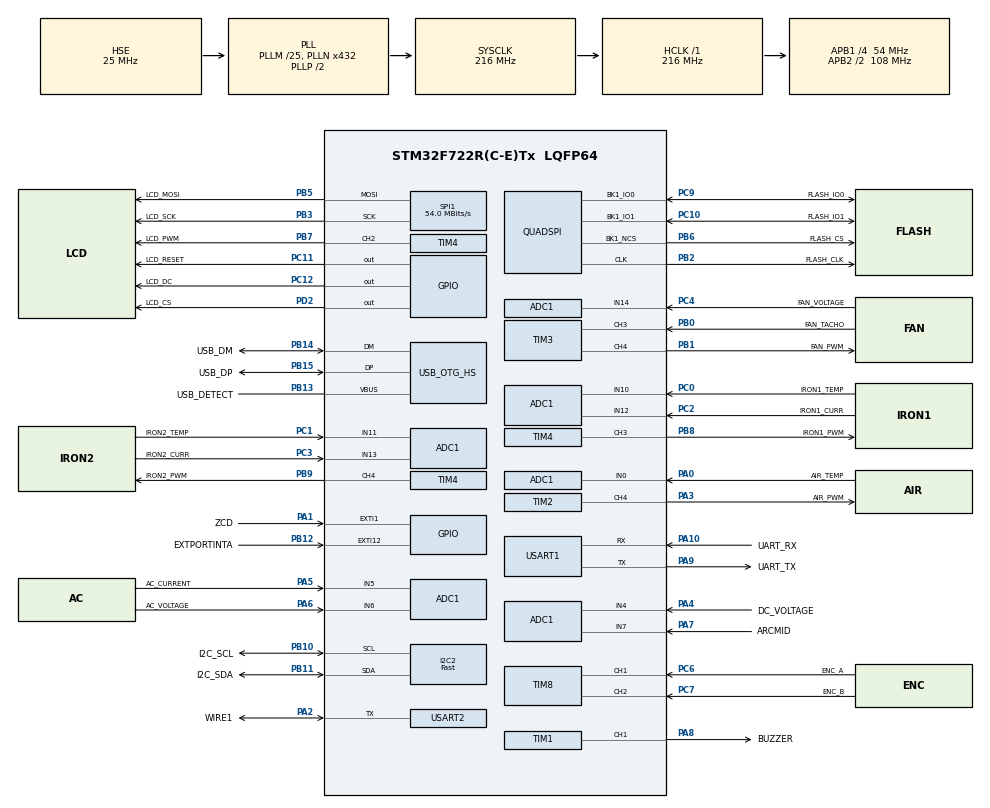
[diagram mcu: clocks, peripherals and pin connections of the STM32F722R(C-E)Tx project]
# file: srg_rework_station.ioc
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ADC1.Channel-10\#ChannelRegularConversion=ADC_CHANNEL_11
ADC1.Channel-11\#ChannelRegularConversion=ADC_CHANNEL_12
ADC1.Channel-12\#ChannelRegularConversion=ADC_CHANNEL_13
ADC1.Channel-13\#ChannelRegularConversion=ADC_CHANNEL_14
ADC1.Channel-4\#ChannelRegularConversion=ADC_CHANNEL_0
ADC1.Channel-5\#ChannelRegularConversion=ADC_CHANNEL_4
ADC1.Channel-6\#ChannelRegularConversion=ADC_CHANNEL_5
ADC1.Channel-7\#ChannelRegularConversion=ADC_CHANNEL_6
ADC1.Channel-8\#ChannelRegularConversion=ADC_CHANNEL_7
ADC1.Channel-9\#ChannelRegularConversion=ADC_CHANNEL_10
ADC1.ContinuousConvMode=ENABLE
ADC1.DMAContinuousRequests=ENABLE
ADC1.NbrOfConversion=10
ADC1.NbrOfConversionFlag=1
ADC1.Rank-10\#ChannelRegularConversion=7
ADC1.Rank-11\#ChannelRegularConversion=8
ADC1.Rank-12\#ChannelRegularConversion=9
ADC1.Rank-13\#ChannelRegularConversion=10
ADC1.Rank-4\#ChannelRegularConversion=1
ADC1.Rank-5\#ChannelRegularConversion=2
ADC1.Rank-6\#ChannelRegularConversion=3
ADC1.Rank-7\#ChannelRegularConversion=4
ADC1.Rank-8\#ChannelRegularConversion=5
ADC1.Rank-9\#ChannelRegularConversion=6
ADC1.SamplingTime-10\#ChannelRegularConversion=ADC_SAMPLETIME_3CYCLES
ADC1.SamplingTime-11\#ChannelRegularConversion=ADC_SAMPLETIME_3CYCLES
ADC1.SamplingTime-12\#ChannelRegularConversion=ADC_SAMPLETIME_3CYCLES
ADC1.SamplingTime-13\#ChannelRegularConversion=ADC_SAMPLETIME_3CYCLES
ADC1.SamplingTime-4\#ChannelRegularConversion=ADC_SAMPLETIME_3CYCLES
ADC1.SamplingTime-5\#ChannelRegularConversion=ADC_SAMPLETIME_3CYCLES
ADC1.SamplingTime-6\#ChannelRegularConversion=ADC_SAMPLETIME_3CYCLES
ADC1.SamplingTime-7\#ChannelRegularConversion=ADC_SAMPLETIME_3CYCLES
ADC1.SamplingTime-8\#ChannelRegularConversion=ADC_SAMPLETIME_3CYCLES
ADC1.SamplingTime-9\#ChannelRegularConversion=ADC_SAMPLETIME_3CYCLES
ADC1.ScanConvMode=ADC_SCAN_ENABLE
ADC1.master=1
CORTEX_M7.ART_ACCLERATOR_ENABLE=1
Dma.ADC1.1.Direction=DMA_PERIPH_TO_MEMORY
Dma.ADC1.1.FIFOMode=DMA_FIFOMODE_ENABLE
Dma.ADC1.1.FIFOThreshold=DMA_FIFO_THRESHOLD_HALFFULL
Dma.ADC1.1.Instance=DMA2_Stream0
Dma.ADC1.1.MemBurst=DMA_MBURST_SINGLE
Dma.ADC1.1.MemDataAlignment=DMA_MDATAALIGN_HALFWORD
Dma.ADC1.1.MemInc=DMA_MINC_ENABLE
Dma.ADC1.1.Mode=DMA_CIRCULAR
Dma.ADC1.1.PeriphBurst=DMA_PBURST_SINGLE
Dma.ADC1.1.PeriphDataAlignment=DMA_PDATAALIGN_HALFWORD
Dma.ADC1.1.PeriphInc=DMA_PINC_DISABLE
Dma.ADC1.1.Priority=DMA_PRIORITY_LOW
Dma.QUADSPI.0.Direction=DMA_MEMORY_TO_PERIPH
Dma.QUADSPI.0.FIFOMode=DMA_FIFOMODE_DISABLE
Dma.QUADSPI.0.Instance=DMA2_Stream7
Dma.QUADSPI.0.MemDataAlignment=DMA_MDATAALIGN_BYTE
Dma.QUADSPI.0.MemInc=DMA_MINC_ENABLE
Dma.QUADSPI.0.Mode=DMA_NORMAL
Dma.QUADSPI.0.PeriphDataAlignment=DMA_PDATAALIGN_BYTE
Dma.QUADSPI.0.PeriphInc=DMA_PINC_DISABLE
Dma.QUADSPI.0.Priority=DMA_PRIORITY_LOW
Dma.Request0=QUADSPI
Dma.Request1=ADC1
Dma.Request2=SPI1_TX
Dma.SPI1_TX.2.Direction=DMA_MEMORY_TO_PERIPH
Dma.SPI1_TX.2.FIFOMode=DMA_FIFOMODE_DISABLE
Dma.SPI1_TX.2.Instance=DMA2_Stream3
Dma.SPI1_TX.2.MemDataAlignment=DMA_MDATAALIGN_BYTE
Dma.SPI1_TX.2.MemInc=DMA_MINC_ENABLE
Dma.SPI1_TX.2.Mode=DMA_NORMAL
Dma.SPI1_TX.2.PeriphDataAlignment=DMA_PDATAALIGN_BYTE
Dma.SPI1_TX.2.PeriphInc=DMA_PINC_DISABLE
Dma.SPI1_TX.2.Priority=DMA_PRIORITY_HIGH
FREERTOS.Tasks01=defaultTask,24,128,StartDefaultTask,Default,NULL,Dynamic,NULL,NULL;myTaskLvgl,8,128,StartTaskLvgl,Default,NULL,Dynamic,NULL,NULL;myTaskInputs,8,128,StartTaskInputs,Default,NULL,Dynamic,NULL,NULL;myTaskZcd,8,128,StartTaskZcd,Default,NULL,Dynamic,NULL,NULL;myTaskUart,8,128,StartTaskUart,Default,NULL,Dynamic,NULL,NULL
FREERTOS.configENABLE_BACKWARD_COMPATIBILITY=0
FREERTOS.configENABLE_FPU=1
FREERTOS.configUSE_NEWLIB_REENTRANT=1
FREERTOS.configUSE_TICK_HOOK=1
I2C2.I2C_Speed_Mode=I2C_Fast
I2C2.Timing=0x6000030D
Mcu.Family=STM32F7
Mcu.Name=STM32F722R(C-E)Tx
Mcu.Package=LQFP64
NVIC.DMA2_Stream0_IRQn=true\:5\:0\:false\:false\:true\:true\:false\:true
NVIC.DMA2_Stream3_IRQn=true\:5\:0\:false\:false\:true\:true\:false\:true
NVIC.DMA2_Stream7_IRQn=true\:5\:0\:false\:false\:true\:true\:false\:true
NVIC.OTG_HS_IRQn=true\:5\:0\:false\:false\:true\:true\:false\:true
NVIC.PriorityGroup=NVIC_PRIORITYGROUP_4
NVIC.TIM6_DAC_IRQn=true\:15\:0\:false\:false\:true\:false\:false\:true
NVIC.TimeBase=TIM6_DAC_IRQn
NVIC.TimeBaseIP=TIM6
PA0-WKUP.GPIO_Label=AIR_TEMP
PA0-WKUP.Signal=ADCx_IN0
PA1.GPIO_Label=ZCD
PA1.GPIO_ModeDefaultEXTI=GPIO_MODE_IT_FALLING
PA1.GPIO_PuPd=GPIO_NOPULL
PA1.Signal=GPXTI1
PA10.GPIO_Label=UART_RX
PA10.Mode=Asynchronous
PA10.Signal=USART1_RX
PA13.GPIO_Label=SWDIO
PA13.Mode=Serial_Wire
PA13.Signal=SYS_JTMS-SWDIO
PA14.GPIO_Label=SWCLK
PA14.Mode=Serial_Wire
PA14.Signal=SYS_JTCK-SWCLK
PA2.GPIO_Label=WIRE1
PA2.Mode=Half_duplex(single_wire_mode)
PA2.Signal=USART2_TX
PA3.GPIO_Label=AIR_PWM
PA3.Signal=S_TIM2_CH4
PA4.GPIO_Label=DC_VOLTAGE
PA4.Signal=ADCx_IN4
PA5.GPIO_Label=AC_CURRENT
PA5.Signal=ADCx_IN5
PA6.GPIO_Label=AC_VOLTAGE
PA6.Signal=ADCx_IN6
PA7.GPIO_Label=ARCMID
PA7.Signal=ADCx_IN7
PA8.GPIO_Label=BUZZER
PA8.Signal=S_TIM1_CH1
PA9.GPIO_Label=UART_TX
PA9.Mode=Asynchronous
PA9.Signal=USART1_TX
PB0.GPIO_Label=FAN_TACHO
PB0.Signal=S_TIM3_CH3
PB1.GPIO_Label=FAN_PWM
PB1.Signal=S_TIM3_CH4
PB10.GPIO_Label=I2C_SCL
PB10.Mode=I2C
PB10.Signal=I2C2_SCL
PB11.GPIO_Label=I2C_SDA
PB11.Mode=I2C
PB11.Signal=I2C2_SDA
PB12.GPIO_Label=EXTPORTINTA
PB12.GPIO_ModeDefaultEXTI=GPIO_MODE_IT_FALLING
PB12.GPIO_PuPd=GPIO_NOPULL
PB12.Signal=GPXTI12
PB13.GPIO_Label=USB_DETECT
PB13.Mode=Activate_VBUS_FS
PB13.Signal=USB_OTG_HS_VBUS
PB14.GPIO_Label=USB_DM
PB14.Mode=Internal_Phy_Device
PB14.Signal=USB_OTG_HS_DM
PB15.GPIO_Label=USB_DP
PB15.Mode=Internal_Phy_Device
PB15.Signal=USB_OTG_HS_DP
PB2.GPIO_Label=FLASH_CLK
PB2.Mode=Single Bank 1 2IOs
PB2.Signal=QUADSPI_CLK
PB3.GPIO_Label=LCD_SCK
PB3.Mode=TX_Only_Simplex_Unidirect_Master
PB3.Signal=SPI1_SCK
PB4.GPIO_Label=LCD_MISO
PB4.Signal=SPI1_MISO
PB5.GPIO_Label=LCD_MOSI
PB5.Mode=TX_Only_Simplex_Unidirect_Master
PB5.Signal=SPI1_MOSI
PB6.GPIO_Label=FLASH_CS
PB6.Mode=Single Bank 1 2IOs
PB6.Signal=QUADSPI_BK1_NCS
PB7.GPIO_Label=LCD_PWM
PB7.Signal=S_TIM4_CH2
PB8.GPIO_Label=IRON1_PWM
PB8.Signal=S_TIM4_CH3
PB9.GPIO_Label=IRON2_PWM
PB9.Signal=S_TIM4_CH4
PC0.GPIO_Label=IRON1_TEMP
PC0.Signal=ADCx_IN10
PC1.GPIO_Label=IRON2_TEMP
PC1.Signal=ADCx_IN11
PC10.GPIO_Label=FLASH_IO1
PC10.Mode=Single Bank 1 2IOs
PC10.Signal=QUADSPI_BK1_IO1
PC11.GPIO_Label=LCD_RESET
PC11.GPIO_PuPd=GPIO_NOPULL
PC11.PinState=GPIO_PIN_SET
PC11.Signal=GPIO_Output
PC12.GPIO_Label=LCD_DC
PC12.GPIO_PuPd=GPIO_NOPULL
PC12.GPIO_Speed=GPIO_SPEED_FREQ_VERY_HIGH
PC12.Signal=GPIO_Output
PC2.GPIO_Label=IRON1_CURR
PC2.Signal=ADCx_IN12
PC3.GPIO_Label=IRON2_CURR
PC3.Signal=ADCx_IN13
PC4.GPIO_Label=FAN_VOLTAGE
PC4.Signal=ADCx_IN14
PC6.GPIO_Label=ENC_A
PC6.Signal=S_TIM8_CH1
PC7.GPIO_Label=ENC_B
PC7.Signal=S_TIM8_CH2
PC9.GPIO_Label=FLASH_IO0
PC9.Mode=Single Bank 1 2IOs
PC9.Signal=QUADSPI_BK1_IO0
PD2.GPIO_Label=LCD_CS
PD2.GPIO_PuPd=GPIO_NOPULL
PD2.GPIO_Speed=GPIO_SPEED_FREQ_VERY_HIGH
PD2.Signal=GPIO_Output
PH0-OSC_IN.GPIO_Label=HSE_IN
PH0-OSC_IN.Mode=HSE-External-Oscillator
PH0-OSC_IN.Signal=RCC_OSC_IN
PH1-OSC_OUT.GPIO_Label=HSE_OUT
PH1-OSC_OUT.Mode=HSE-External-Oscillator
PH1-OSC_OUT.Signal=RCC_OSC_OUT
ProjectManager.HeapSize=0x400
ProjectManager.StackSize=0x800
ProjectManager.TargetToolchain=STM32CubeIDE
QUADSPI.ChipSelectHighTime=QSPI_CS_HIGH_TIME_1_CYCLE
QUADSPI.ClockPrescaler=1
QUADSPI.FifoThreshold=32
QUADSPI.FlashSize=23
QUADSPI.SampleShifting=QSPI_SAMPLE_SHIFTING_NONE
RCC.AHBFreq_Value=216000000
RCC.APB1CLKDivider=RCC_HCLK_DIV4
RCC.APB1Freq_Value=54000000
RCC.APB1TimFreq_Value=108000000
RCC.APB2CLKDivider=RCC_HCLK_DIV2
RCC.APB2Freq_Value=108000000
RCC.APB2TimFreq_Value=216000000
RCC.CortexFreq_Value=216000000
RCC.EnbaleCSS=true
RCC.HCLKFreq_Value=216000000
RCC.HSE_VALUE=25000000
RCC.HSI_VALUE=16000000
RCC.LSE_VALUE=32768
RCC.PLLM=25
RCC.PLLN=432
RCC.PLLQ=9
RCC.SYSCLKFreq_VALUE=216000000
RCC.SYSCLKSource=RCC_SYSCLKSOURCE_PLLCLK
RCC.USBFreq_Value=48000000
RCC.VCOOutputFreq_Value=432000000
SH.ADCx_IN0.0=ADC1_IN0,IN0
SH.ADCx_IN10.0=ADC1_IN10,IN10
SH.ADCx_IN11.0=ADC1_IN11,IN11
SH.ADCx_IN12.0=ADC1_IN12,IN12
SH.ADCx_IN13.0=ADC1_IN13,IN13
SH.ADCx_IN14.0=ADC2_IN14
SH.ADCx_IN14.1=ADC1_IN14,IN14
SH.ADCx_IN4.0=ADC1_IN4,IN4
SH.ADCx_IN5.0=ADC1_IN5,IN5
SH.ADCx_IN6.0=ADC1_IN6,IN6
SH.ADCx_IN7.0=ADC1_IN7,IN7
SH.S_TIM1_CH1.0=TIM1_CH1,PWM Generation1 CH1
SH.S_TIM2_CH4.0=TIM2_CH4,PWM Generation4 CH4
SH.S_TIM3_CH3.0=TIM3_CH3,Input_Capture3_from_TI3
SH.S_TIM3_CH4.0=TIM3_CH4,PWM Generation4 CH4
SH.S_TIM4_CH2.0=TIM4_CH2,PWM Generation2 CH2
SH.S_TIM4_CH3.0=TIM4_CH3,PWM Generation3 CH3
SH.S_TIM4_CH4.0=TIM4_CH4,PWM Generation4 CH4
SH.S_TIM8_CH1.0=TIM8_CH1,Encoder_Interface
SH.S_TIM8_CH2.0=TIM8_CH2,Encoder_Interface
SPI1.CalculateBaudRate=54.0 MBits/s
SPI1.Direction=SPI_DIRECTION_2LINES
SPI1.Mode=SPI_MODE_MASTER
SPI1.VirtualType=VM_MASTER
TIM1.Channel-PWM\ Generation1\ CH1=TIM_CHANNEL_1
TIM2.Channel-PWM\ Generation4\ CH4=TIM_CHANNEL_4
TIM3.Channel-Input_Capture3_from_TI3=TIM_CHANNEL_3
TIM3.Channel-PWM\ Generation4\ CH4=TIM_CHANNEL_4
TIM4.Channel-PWM\ Generation2\ CH2=TIM_CHANNEL_2
TIM4.Channel-PWM\ Generation3\ CH3=TIM_CHANNEL_3
TIM4.Channel-PWM\ Generation4\ CH4=TIM_CHANNEL_4
TIM8.EncoderMode=TIM_ENCODERMODE_TI12
USART1.VirtualMode-Asynchronous=VM_ASYNC
USART2.VirtualMode-Half_duplex(single_wire_mode)=VM_ASYNC
USB_DEVICE.CLASS_NAME_HS=CDC
USB_DEVICE.VirtualMode-CDC_HS=Cdc
USB_DEVICE.VirtualModeHS=Cdc_HS
USB_OTG_HS.VirtualMode-Internal_Phy_Device=Int_Phy_Device
VP_CRC_VS_CRC.Mode=CRC_Activate
VP_FREERTOS_VS_CMSIS_V2.Mode=CMSIS_V2
VP_RNG_VS_RNG.Mode=RNG_Activate
VP_SYS_VS_tim6.Mode=TIM6
VP_USB_DEVICE_VS_USB_DEVICE_CDC_HS.Mode=CDC_HS
board=custom

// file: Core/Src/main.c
/* USER CODE BEGIN Header */
/**
  ******************************************************************************
  * @file           : main.c
  * @brief          : Main program body
  ******************************************************************************
  * @attention
  *
  * <h2><center>&copy; Copyright (c) 2021 STMicroelectronics.
  * All rights reserved.</center></h2>
  *
  * This software component is licensed by ST under Ultimate Liberty license
  * SLA0044, the "License"; You may not use this file except in compliance with
  * the License. You may obtain a copy of the License at:
  *                             www.st.com/SLA0044
  *
  ******************************************************************************
  */
/* USER CODE END Header */
#include "main.h"
#include "cmsis_os.h"
#include "usb_device.h"

/* USER CODE BEGIN Includes */

#include "version.h"
#include "ST7789VW.h"
#include "MCP23017.h"
#include "driver_qspi.h"

#include "lv_display.h"
#include "lv_buttons.h"

/* USER CODE END Includes */

ADC_HandleTypeDef hadc1;
DMA_HandleTypeDef hdma_adc1;

CRC_HandleTypeDef hcrc;

I2C_HandleTypeDef hi2c2;

QSPI_HandleTypeDef hqspi;
DMA_HandleTypeDef hdma_quadspi;

RNG_HandleTypeDef hrng;

SPI_HandleTypeDef hspi1;
DMA_HandleTypeDef hdma_spi1_tx;

TIM_HandleTypeDef htim1;
TIM_HandleTypeDef htim2;
TIM_HandleTypeDef htim3;
TIM_HandleTypeDef htim4;
TIM_HandleTypeDef htim8;

UART_HandleTypeDef huart1;
UART_HandleTypeDef huart2;

/* Definitions for defaultTask */
osThreadId_t defaultTaskHandle;
const osThreadAttr_t defaultTask_attributes = {
  .name = "defaultTask",
  .stack_size = 128 * 4,
  .priority = (osPriority_t) osPriorityNormal,
};
/* Definitions for myTaskLvgl */
osThreadId_t myTaskLvglHandle;
const osThreadAttr_t myTaskLvgl_attributes = {
  .name = "myTaskLvgl",
  .stack_size = 128 * 4,
  .priority = (osPriority_t) osPriorityLow,
};
/* Definitions for myTaskInputs */
osThreadId_t myTaskInputsHandle;
const osThreadAttr_t myTaskInputs_attributes = {
  .name = "myTaskInputs",
  .stack_size = 128 * 4,
  .priority = (osPriority_t) osPriorityLow,
};
/* Definitions for myTaskZcd */
osThreadId_t myTaskZcdHandle;
const osThreadAttr_t myTaskZcd_attributes = {
  .name = "myTaskZcd",
  .stack_size = 128 * 4,
  .priority = (osPriority_t) osPriorityLow,
};
/* Definitions for myTaskUart */
osThreadId_t myTaskUartHandle;
const osThreadAttr_t myTaskUart_attributes = {
  .name = "myTaskUart",
  .stack_size = 128 * 4,
  .priority = (osPriority_t) osPriorityLow,
};

void SystemClock_Config(void);
static void MX_GPIO_Init(void);
static void MX_ADC1_Init(void);
static void MX_SPI1_Init(void);
static void MX_TIM2_Init(void);
static void MX_TIM3_Init(void);
static void MX_TIM4_Init(void);
static void MX_TIM8_Init(void);
static void MX_I2C2_Init(void);
static void MX_QUADSPI_Init(void);
static void MX_TIM1_Init(void);
static void MX_USART1_UART_Init(void);
static void MX_USART2_UART_Init(void);
static void MX_DMA_Init(void);
static void MX_CRC_Init(void);
static void MX_RNG_Init(void);
void StartDefaultTask(void *argument);
void StartTaskLvgl(void *argument);
void StartTaskInputs(void *argument);
void StartTaskZcd(void *argument);
void StartTaskUart(void *argument);

int main(void)
{

  /* MCU Configuration--------------------------------------------------------*/

  /* Reset of all peripherals, Initializes the Flash interface and the Systick. */
  HAL_Init();

  /* Configure the system clock */
  SystemClock_Config();

  /* Initialize all configured peripherals */
  MX_GPIO_Init();
  MX_ADC1_Init();
  MX_SPI1_Init();
  MX_TIM2_Init();
  MX_TIM3_Init();
  MX_TIM4_Init();
  MX_TIM8_Init();
  MX_I2C2_Init();
  MX_QUADSPI_Init();
  MX_TIM1_Init();
  MX_USART1_UART_Init();
  MX_USART2_UART_Init();
  MX_DMA_Init();
  MX_CRC_Init();
  MX_RNG_Init();

  /* Init scheduler */
  osKernelInitialize();

  /* Create the thread(s) */
  /* creation of defaultTask */
  defaultTaskHandle = osThreadNew(StartDefaultTask, NULL, &defaultTask_attributes);

  /* creation of myTaskLvgl */
  myTaskLvglHandle = osThreadNew(StartTaskLvgl, NULL, &myTaskLvgl_attributes);

  /* creation of myTaskInputs */
  myTaskInputsHandle = osThreadNew(StartTaskInputs, NULL, &myTaskInputs_attributes);

  /* creation of myTaskZcd */
  myTaskZcdHandle = osThreadNew(StartTaskZcd, NULL, &myTaskZcd_attributes);

  /* creation of myTaskUart */
  myTaskUartHandle = osThreadNew(StartTaskUart, NULL, &myTaskUart_attributes);

  /* Start scheduler */
  osKernelStart();

  /* We should never get here as control is now taken by the scheduler */
  /* Infinite loop */
  while (1)
  {

  }
}

void SystemClock_Config(void)
{
  RCC_OscInitTypeDef RCC_OscInitStruct = {0};
  RCC_ClkInitTypeDef RCC_ClkInitStruct = {0};
  RCC_PeriphCLKInitTypeDef PeriphClkInitStruct = {0};

  /** Configure the main internal regulator output voltage
  */
  __HAL_RCC_PWR_CLK_ENABLE();
  __HAL_PWR_VOLTAGESCALING_CONFIG(PWR_REGULATOR_VOLTAGE_SCALE1);
  /** Initializes the RCC Oscillators according to the specified parameters
  * in the RCC_OscInitTypeDef structure.
  */
  RCC_OscInitStruct.OscillatorType = RCC_OSCILLATORTYPE_HSE;
  RCC_OscInitStruct.HSEState = RCC_HSE_ON;
  RCC_OscInitStruct.PLL.PLLState = RCC_PLL_ON;
  RCC_OscInitStruct.PLL.PLLSource = RCC_PLLSOURCE_HSE;
  RCC_OscInitStruct.PLL.PLLM = 25;
  RCC_OscInitStruct.PLL.PLLN = 432;
  RCC_OscInitStruct.PLL.PLLP = RCC_PLLP_DIV2;
  RCC_OscInitStruct.PLL.PLLQ = 9;
  if (HAL_RCC_OscConfig(&RCC_OscInitStruct) != HAL_OK)
  {
    Error_Handler();
  }
  /** Activate the Over-Drive mode
  */
  if (HAL_PWREx_EnableOverDrive() != HAL_OK)
  {
    Error_Handler();
  }
  /** Initializes the CPU, AHB and APB buses clocks
  */
  RCC_ClkInitStruct.ClockType = RCC_CLOCKTYPE_HCLK|RCC_CLOCKTYPE_SYSCLK
                              |RCC_CLOCKTYPE_PCLK1|RCC_CLOCKTYPE_PCLK2;
  RCC_ClkInitStruct.SYSCLKSource = RCC_SYSCLKSOURCE_PLLCLK;
  RCC_ClkInitStruct.AHBCLKDivider = RCC_SYSCLK_DIV1;
  RCC_ClkInitStruct.APB1CLKDivider = RCC_HCLK_DIV4;
  RCC_ClkInitStruct.APB2CLKDivider = RCC_HCLK_DIV2;

  if (HAL_RCC_ClockConfig(&RCC_ClkInitStruct, FLASH_LATENCY_7) != HAL_OK)
  {
    Error_Handler();
  }
  PeriphClkInitStruct.PeriphClockSelection = RCC_PERIPHCLK_USART1|RCC_PERIPHCLK_USART2
                              |RCC_PERIPHCLK_I2C2|RCC_PERIPHCLK_CLK48;
  PeriphClkInitStruct.Usart1ClockSelection = RCC_USART1CLKSOURCE_PCLK2;
  PeriphClkInitStruct.Usart2ClockSelection = RCC_USART2CLKSOURCE_PCLK1;
  PeriphClkInitStruct.I2c2ClockSelection = RCC_I2C2CLKSOURCE_PCLK1;
  PeriphClkInitStruct.Clk48ClockSelection = RCC_CLK48SOURCE_PLL;
  if (HAL_RCCEx_PeriphCLKConfig(&PeriphClkInitStruct) != HAL_OK)
  {
    Error_Handler();
  }
  /** Enables the Clock Security System
  */
  HAL_RCC_EnableCSS();
}

static void MX_ADC1_Init(void)
{

  ADC_ChannelConfTypeDef sConfig = {0};

  /** Configure the global features of the ADC (Clock, Resolution, Data Alignment and number of conversion)
  */
  hadc1.Instance = ADC1;
  hadc1.Init.ClockPrescaler = ADC_CLOCK_SYNC_PCLK_DIV4;
  hadc1.Init.Resolution = ADC_RESOLUTION_12B;
  hadc1.Init.ScanConvMode = ADC_SCAN_ENABLE;
  hadc1.Init.ContinuousConvMode = ENABLE;
  hadc1.Init.DiscontinuousConvMode = DISABLE;
  hadc1.Init.ExternalTrigConvEdge = ADC_EXTERNALTRIGCONVEDGE_NONE;
  hadc1.Init.ExternalTrigConv = ADC_SOFTWARE_START;
  hadc1.Init.DataAlign = ADC_DATAALIGN_RIGHT;
  hadc1.Init.NbrOfConversion = 10;
  hadc1.Init.DMAContinuousRequests = ENABLE;
  hadc1.Init.EOCSelection = ADC_EOC_SINGLE_CONV;
  if (HAL_ADC_Init(&hadc1) != HAL_OK)
  {
    Error_Handler();
  }
  /** Configure for the selected ADC regular channel its corresponding rank in the sequencer and its sample time.
  */
  sConfig.Channel = ADC_CHANNEL_0;
  sConfig.Rank = ADC_REGULAR_RANK_1;
  sConfig.SamplingTime = ADC_SAMPLETIME_3CYCLES;
  if (HAL_ADC_ConfigChannel(&hadc1, &sConfig) != HAL_OK)
  {
    Error_Handler();
  }
  /** Configure for the selected ADC regular channel its corresponding rank in the sequencer and its sample time.
  */
  sConfig.Channel = ADC_CHANNEL_4;
  sConfig.Rank = ADC_REGULAR_RANK_2;
  if (HAL_ADC_ConfigChannel(&hadc1, &sConfig) != HAL_OK)
  {
    Error_Handler();
  }
  /** Configure for the selected ADC regular channel its corresponding rank in the sequencer and its sample time.
  */
  sConfig.Channel = ADC_CHANNEL_5;
  sConfig.Rank = ADC_REGULAR_RANK_3;
  if (HAL_ADC_ConfigChannel(&hadc1, &sConfig) != HAL_OK)
  {
    Error_Handler();
  }
  /** Configure for the selected ADC regular channel its corresponding rank in the sequencer and its sample time.
  */
  sConfig.Channel = ADC_CHANNEL_6;
  sConfig.Rank = ADC_REGULAR_RANK_4;
  if (HAL_ADC_ConfigChannel(&hadc1, &sConfig) != HAL_OK)
  {
    Error_Handler();
  }
  /** Configure for the selected ADC regular channel its corresponding rank in the sequencer and its sample time.
  */
  sConfig.Channel = ADC_CHANNEL_7;
  sConfig.Rank = ADC_REGULAR_RANK_5;
  if (HAL_ADC_ConfigChannel(&hadc1, &sConfig) != HAL_OK)
  {
    Error_Handler();
  }
  /** Configure for the selected ADC regular channel its corresponding rank in the sequencer and its sample time.
  */
  sConfig.Channel = ADC_CHANNEL_10;
  sConfig.Rank = ADC_REGULAR_RANK_6;
  if (HAL_ADC_ConfigChannel(&hadc1, &sConfig) != HAL_OK)
  {
    Error_Handler();
  }
  /** Configure for the selected ADC regular channel its corresponding rank in the sequencer and its sample time.
  */
  sConfig.Channel = ADC_CHANNEL_11;
  sConfig.Rank = ADC_REGULAR_RANK_7;
  if (HAL_ADC_ConfigChannel(&hadc1, &sConfig) != HAL_OK)
  {
    Error_Handler();
  }
  /** Configure for the selected ADC regular channel its corresponding rank in the sequencer and its sample time.
  */
  sConfig.Channel = ADC_CHANNEL_12;
  sConfig.Rank = ADC_REGULAR_RANK_8;
  if (HAL_ADC_ConfigChannel(&hadc1, &sConfig) != HAL_OK)
  {
    Error_Handler();
  }
  /** Configure for the selected ADC regular channel its corresponding rank in the sequencer and its sample time.
  */
  sConfig.Channel = ADC_CHANNEL_13;
  sConfig.Rank = ADC_REGULAR_RANK_9;
  if (HAL_ADC_ConfigChannel(&hadc1, &sConfig) != HAL_OK)
  {
    Error_Handler();
  }
  /** Configure for the selected ADC regular channel its corresponding rank in the sequencer and its sample time.
  */
  sConfig.Channel = ADC_CHANNEL_14;
  sConfig.Rank = ADC_REGULAR_RANK_10;
  if (HAL_ADC_ConfigChannel(&hadc1, &sConfig) != HAL_OK)
  {
    Error_Handler();
  }

}

static void MX_CRC_Init(void)
{

  hcrc.Instance = CRC;
  hcrc.Init.DefaultPolynomialUse = DEFAULT_POLYNOMIAL_ENABLE;
  hcrc.Init.DefaultInitValueUse = DEFAULT_INIT_VALUE_ENABLE;
  hcrc.Init.InputDataInversionMode = CRC_INPUTDATA_INVERSION_NONE;
  hcrc.Init.OutputDataInversionMode = CRC_OUTPUTDATA_INVERSION_DISABLE;
  hcrc.InputDataFormat = CRC_INPUTDATA_FORMAT_BYTES;
  if (HAL_CRC_Init(&hcrc) != HAL_OK)
  {
    Error_Handler();
  }

}

static void MX_I2C2_Init(void)
{

  hi2c2.Instance = I2C2;
  hi2c2.Init.Timing = 0x6000030D;
  hi2c2.Init.OwnAddress1 = 0;
  hi2c2.Init.AddressingMode = I2C_ADDRESSINGMODE_7BIT;
  hi2c2.Init.DualAddressMode = I2C_DUALADDRESS_DISABLE;
  hi2c2.Init.OwnAddress2 = 0;
  hi2c2.Init.OwnAddress2Masks = I2C_OA2_NOMASK;
  hi2c2.Init.GeneralCallMode = I2C_GENERALCALL_DISABLE;
  hi2c2.Init.NoStretchMode = I2C_NOSTRETCH_DISABLE;
  if (HAL_I2C_Init(&hi2c2) != HAL_OK)
  {
    Error_Handler();
  }
  /** Configure Analogue filter
  */
  if (HAL_I2CEx_ConfigAnalogFilter(&hi2c2, I2C_ANALOGFILTER_ENABLE) != HAL_OK)
  {
    Error_Handler();
  }
  /** Configure Digital filter
  */
  if (HAL_I2CEx_ConfigDigitalFilter(&hi2c2, 0) != HAL_OK)
  {
    Error_Handler();
  }

}

static void MX_QUADSPI_Init(void)
{

  /* QUADSPI parameter configuration*/
  hqspi.Instance = QUADSPI;
  hqspi.Init.ClockPrescaler = 1;
  hqspi.Init.FifoThreshold = 32;
  hqspi.Init.SampleShifting = QSPI_SAMPLE_SHIFTING_NONE;
  hqspi.Init.FlashSize = 23;
  hqspi.Init.ChipSelectHighTime = QSPI_CS_HIGH_TIME_1_CYCLE;
  hqspi.Init.ClockMode = QSPI_CLOCK_MODE_0;
  hqspi.Init.FlashID = QSPI_FLASH_ID_1;
  hqspi.Init.DualFlash = QSPI_DUALFLASH_DISABLE;
  if (HAL_QSPI_Init(&hqspi) != HAL_OK)
  {
    Error_Handler();
  }

}

static void MX_RNG_Init(void)
{

  hrng.Instance = RNG;
  if (HAL_RNG_Init(&hrng) != HAL_OK)
  {
    Error_Handler();
  }

}

static void MX_SPI1_Init(void)
{

  /* SPI1 parameter configuration*/
  hspi1.Instance = SPI1;
  hspi1.Init.Mode = SPI_MODE_MASTER;
  hspi1.Init.Direction = SPI_DIRECTION_2LINES;
  hspi1.Init.DataSize = SPI_DATASIZE_4BIT;
  hspi1.Init.CLKPolarity = SPI_POLARITY_LOW;
  hspi1.Init.CLKPhase = SPI_PHASE_1EDGE;
  hspi1.Init.NSS = SPI_NSS_SOFT;
  hspi1.Init.BaudRatePrescaler = SPI_BAUDRATEPRESCALER_2;
  hspi1.Init.FirstBit = SPI_FIRSTBIT_MSB;
  hspi1.Init.TIMode = SPI_TIMODE_DISABLE;
  hspi1.Init.CRCCalculation = SPI_CRCCALCULATION_DISABLE;
  hspi1.Init.CRCPolynomial = 7;
  hspi1.Init.CRCLength = SPI_CRC_LENGTH_DATASIZE;
  hspi1.Init.NSSPMode = SPI_NSS_PULSE_ENABLE;
  if (HAL_SPI_Init(&hspi1) != HAL_OK)
  {
    Error_Handler();
  }

}

static void MX_TIM1_Init(void)
{

  TIM_MasterConfigTypeDef sMasterConfig = {0};
  TIM_OC_InitTypeDef sConfigOC = {0};
  TIM_BreakDeadTimeConfigTypeDef sBreakDeadTimeConfig = {0};

  htim1.Instance = TIM1;
  htim1.Init.Prescaler = 0;
  htim1.Init.CounterMode = TIM_COUNTERMODE_UP;
  htim1.Init.Period = 65535;
  htim1.Init.ClockDivision = TIM_CLOCKDIVISION_DIV1;
  htim1.Init.RepetitionCounter = 0;
  htim1.Init.AutoReloadPreload = TIM_AUTORELOAD_PRELOAD_DISABLE;
  if (HAL_TIM_PWM_Init(&htim1) != HAL_OK)
  {
    Error_Handler();
  }
  sMasterConfig.MasterOutputTrigger = TIM_TRGO_RESET;
  sMasterConfig.MasterOutputTrigger2 = TIM_TRGO2_RESET;
  sMasterConfig.MasterSlaveMode = TIM_MASTERSLAVEMODE_DISABLE;
  if (HAL_TIMEx_MasterConfigSynchronization(&htim1, &sMasterConfig) != HAL_OK)
  {
    Error_Handler();
  }
  sConfigOC.OCMode = TIM_OCMODE_PWM1;
  sConfigOC.Pulse = 0;
  sConfigOC.OCPolarity = TIM_OCPOLARITY_HIGH;
  sConfigOC.OCNPolarity = TIM_OCNPOLARITY_HIGH;
  sConfigOC.OCFastMode = TIM_OCFAST_DISABLE;
  sConfigOC.OCIdleState = TIM_OCIDLESTATE_RESET;
  sConfigOC.OCNIdleState = TIM_OCNIDLESTATE_RESET;
  if (HAL_TIM_PWM_ConfigChannel(&htim1, &sConfigOC, TIM_CHANNEL_1) != HAL_OK)
  {
    Error_Handler();
  }
  sBreakDeadTimeConfig.OffStateRunMode = TIM_OSSR_DISABLE;
  sBreakDeadTimeConfig.OffStateIDLEMode = TIM_OSSI_DISABLE;
  sBreakDeadTimeConfig.LockLevel = TIM_LOCKLEVEL_OFF;
  sBreakDeadTimeConfig.DeadTime = 0;
  sBreakDeadTimeConfig.BreakState = TIM_BREAK_DISABLE;
  sBreakDeadTimeConfig.BreakPolarity = TIM_BREAKPOLARITY_HIGH;
  sBreakDeadTimeConfig.BreakFilter = 0;
  sBreakDeadTimeConfig.Break2State = TIM_BREAK2_DISABLE;
  sBreakDeadTimeConfig.Break2Polarity = TIM_BREAK2POLARITY_HIGH;
  sBreakDeadTimeConfig.Break2Filter = 0;
  sBreakDeadTimeConfig.AutomaticOutput = TIM_AUTOMATICOUTPUT_DISABLE;
  if (HAL_TIMEx_ConfigBreakDeadTime(&htim1, &sBreakDeadTimeConfig) != HAL_OK)
  {
    Error_Handler();
  }
  HAL_TIM_MspPostInit(&htim1);

}

static void MX_TIM2_Init(void)
{

  TIM_MasterConfigTypeDef sMasterConfig = {0};
  TIM_OC_InitTypeDef sConfigOC = {0};

  htim2.Instance = TIM2;
  htim2.Init.Prescaler = 0;
  htim2.Init.CounterMode = TIM_COUNTERMODE_UP;
  htim2.Init.Period = 4294967295;
  htim2.Init.ClockDivision = TIM_CLOCKDIVISION_DIV1;
  htim2.Init.AutoReloadPreload = TIM_AUTORELOAD_PRELOAD_DISABLE;
  if (HAL_TIM_PWM_Init(&htim2) != HAL_OK)
  {
    Error_Handler();
  }
  sMasterConfig.MasterOutputTrigger = TIM_TRGO_RESET;
  sMasterConfig.MasterSlaveMode = TIM_MASTERSLAVEMODE_DISABLE;
  if (HAL_TIMEx_MasterConfigSynchronization(&htim2, &sMasterConfig) != HAL_OK)
  {
    Error_Handler();
  }
  sConfigOC.OCMode = TIM_OCMODE_PWM1;
  sConfigOC.Pulse = 0;
  sConfigOC.OCPolarity = TIM_OCPOLARITY_HIGH;
  sConfigOC.OCFastMode = TIM_OCFAST_DISABLE;
  if (HAL_TIM_PWM_ConfigChannel(&htim2, &sConfigOC, TIM_CHANNEL_4) != HAL_OK)
  {
    Error_Handler();
  }
  HAL_TIM_MspPostInit(&htim2);

}

static void MX_TIM3_Init(void)
{

  TIM_MasterConfigTypeDef sMasterConfig = {0};
  TIM_IC_InitTypeDef sConfigIC = {0};
  TIM_OC_InitTypeDef sConfigOC = {0};

  htim3.Instance = TIM3;
  htim3.Init.Prescaler = 0;
  htim3.Init.CounterMode = TIM_COUNTERMODE_UP;
  htim3.Init.Period = 65535;
  htim3.Init.ClockDivision = TIM_CLOCKDIVISION_DIV1;
  htim3.Init.AutoReloadPreload = TIM_AUTORELOAD_PRELOAD_DISABLE;
  if (HAL_TIM_IC_Init(&htim3) != HAL_OK)
  {
    Error_Handler();
  }
  if (HAL_TIM_PWM_Init(&htim3) != HAL_OK)
  {
    Error_Handler();
  }
  sMasterConfig.MasterOutputTrigger = TIM_TRGO_RESET;
  sMasterConfig.MasterSlaveMode = TIM_MASTERSLAVEMODE_DISABLE;
  if (HAL_TIMEx_MasterConfigSynchronization(&htim3, &sMasterConfig) != HAL_OK)
  {
    Error_Handler();
  }
  sConfigIC.ICPolarity = TIM_INPUTCHANNELPOLARITY_RISING;
  sConfigIC.ICSelection = TIM_ICSELECTION_DIRECTTI;
  sConfigIC.ICPrescaler = TIM_ICPSC_DIV1;
  sConfigIC.ICFilter = 0;
  if (HAL_TIM_IC_ConfigChannel(&htim3, &sConfigIC, TIM_CHANNEL_3) != HAL_OK)
  {
    Error_Handler();
  }
  sConfigOC.OCMode = TIM_OCMODE_PWM1;
  sConfigOC.Pulse = 0;
  sConfigOC.OCPolarity = TIM_OCPOLARITY_HIGH;
  sConfigOC.OCFastMode = TIM_OCFAST_DISABLE;
  if (HAL_TIM_PWM_ConfigChannel(&htim3, &sConfigOC, TIM_CHANNEL_4) != HAL_OK)
  {
    Error_Handler();
  }
  HAL_TIM_MspPostInit(&htim3);

}

static void MX_TIM4_Init(void)
{

  TIM_MasterConfigTypeDef sMasterConfig = {0};
  TIM_OC_InitTypeDef sConfigOC = {0};

  htim4.Instance = TIM4;
  htim4.Init.Prescaler = 0;
  htim4.Init.CounterMode = TIM_COUNTERMODE_UP;
  htim4.Init.Period = 65535;
  htim4.Init.ClockDivision = TIM_CLOCKDIVISION_DIV1;
  htim4.Init.AutoReloadPreload = TIM_AUTORELOAD_PRELOAD_DISABLE;
  if (HAL_TIM_PWM_Init(&htim4) != HAL_OK)
  {
    Error_Handler();
  }
  sMasterConfig.MasterOutputTrigger = TIM_TRGO_RESET;
  sMasterConfig.MasterSlaveMode = TIM_MASTERSLAVEMODE_DISABLE;
  if (HAL_TIMEx_MasterConfigSynchronization(&htim4, &sMasterConfig) != HAL_OK)
  {
    Error_Handler();
  }
  sConfigOC.OCMode = TIM_OCMODE_PWM1;
  sConfigOC.Pulse = 0;
  sConfigOC.OCPolarity = TIM_OCPOLARITY_HIGH;
  sConfigOC.OCFastMode = TIM_OCFAST_DISABLE;
  if (HAL_TIM_PWM_ConfigChannel(&htim4, &sConfigOC, TIM_CHANNEL_2) != HAL_OK)
  {
    Error_Handler();
  }
  if (HAL_TIM_PWM_ConfigChannel(&htim4, &sConfigOC, TIM_CHANNEL_3) != HAL_OK)
  {
    Error_Handler();
  }
  if (HAL_TIM_PWM_ConfigChannel(&htim4, &sConfigOC, TIM_CHANNEL_4) != HAL_OK)
  {
    Error_Handler();
  }
  HAL_TIM_MspPostInit(&htim4);

}

static void MX_TIM8_Init(void)
{

  TIM_Encoder_InitTypeDef sConfig = {0};
  TIM_MasterConfigTypeDef sMasterConfig = {0};

  htim8.Instance = TIM8;
  htim8.Init.Prescaler = 0;
  htim8.Init.CounterMode = TIM_COUNTERMODE_UP;
  htim8.Init.Period = 65535;
  htim8.Init.ClockDivision = TIM_CLOCKDIVISION_DIV1;
  htim8.Init.RepetitionCounter = 0;
  htim8.Init.AutoReloadPreload = TIM_AUTORELOAD_PRELOAD_DISABLE;
  sConfig.EncoderMode = TIM_ENCODERMODE_TI12;
  sConfig.IC1Polarity = TIM_ICPOLARITY_RISING;
  sConfig.IC1Selection = TIM_ICSELECTION_DIRECTTI;
  sConfig.IC1Prescaler = TIM_ICPSC_DIV1;
  sConfig.IC1Filter = 0;
  sConfig.IC2Polarity = TIM_ICPOLARITY_RISING;
  sConfig.IC2Selection = TIM_ICSELECTION_DIRECTTI;
  sConfig.IC2Prescaler = TIM_ICPSC_DIV1;
  sConfig.IC2Filter = 0;
  if (HAL_TIM_Encoder_Init(&htim8, &sConfig) != HAL_OK)
  {
    Error_Handler();
  }
  sMasterConfig.MasterOutputTrigger = TIM_TRGO_RESET;
  sMasterConfig.MasterOutputTrigger2 = TIM_TRGO2_RESET;
  sMasterConfig.MasterSlaveMode = TIM_MASTERSLAVEMODE_DISABLE;
  if (HAL_TIMEx_MasterConfigSynchronization(&htim8, &sMasterConfig) != HAL_OK)
  {
    Error_Handler();
  }

}

static void MX_USART1_UART_Init(void)
{

  huart1.Instance = USART1;
  huart1.Init.BaudRate = 115200;
  huart1.Init.WordLength = UART_WORDLENGTH_8B;
  huart1.Init.StopBits = UART_STOPBITS_1;
  huart1.Init.Parity = UART_PARITY_NONE;
  huart1.Init.Mode = UART_MODE_TX_RX;
  huart1.Init.HwFlowCtl = UART_HWCONTROL_NONE;
  huart1.Init.OverSampling = UART_OVERSAMPLING_16;
  huart1.Init.OneBitSampling = UART_ONE_BIT_SAMPLE_DISABLE;
  huart1.AdvancedInit.AdvFeatureInit = UART_ADVFEATURE_NO_INIT;
  if (HAL_UART_Init(&huart1) != HAL_OK)
  {
    Error_Handler();
  }

}

static void MX_USART2_UART_Init(void)
{

  huart2.Instance = USART2;
  huart2.Init.BaudRate = 115200;
  huart2.Init.WordLength = UART_WORDLENGTH_8B;
  huart2.Init.StopBits = UART_STOPBITS_1;
  huart2.Init.Parity = UART_PARITY_NONE;
  huart2.Init.Mode = UART_MODE_TX_RX;
  huart2.Init.HwFlowCtl = UART_HWCONTROL_NONE;
  huart2.Init.OverSampling = UART_OVERSAMPLING_16;
  huart2.Init.OneBitSampling = UART_ONE_BIT_SAMPLE_DISABLE;
  huart2.AdvancedInit.AdvFeatureInit = UART_ADVFEATURE_NO_INIT;
  if (HAL_HalfDuplex_Init(&huart2) != HAL_OK)
  {
    Error_Handler();
  }

}

static void MX_DMA_Init(void)
{

  /* DMA controller clock enable */
  __HAL_RCC_DMA2_CLK_ENABLE();

  /* DMA interrupt init */
  /* DMA2_Stream0_IRQn interrupt configuration */
  HAL_NVIC_SetPriority(DMA2_Stream0_IRQn, 5, 0);
  HAL_NVIC_EnableIRQ(DMA2_Stream0_IRQn);
  /* DMA2_Stream3_IRQn interrupt configuration */
  HAL_NVIC_SetPriority(DMA2_Stream3_IRQn, 5, 0);
  HAL_NVIC_EnableIRQ(DMA2_Stream3_IRQn);
  /* DMA2_Stream7_IRQn interrupt configuration */
  HAL_NVIC_SetPriority(DMA2_Stream7_IRQn, 5, 0);
  HAL_NVIC_EnableIRQ(DMA2_Stream7_IRQn);

}

static void MX_GPIO_Init(void)
{
  GPIO_InitTypeDef GPIO_InitStruct = {0};

  /* GPIO Ports Clock Enable */
  __HAL_RCC_GPIOH_CLK_ENABLE();
  __HAL_RCC_GPIOC_CLK_ENABLE();
  __HAL_RCC_GPIOA_CLK_ENABLE();
  __HAL_RCC_GPIOB_CLK_ENABLE();
  __HAL_RCC_GPIOD_CLK_ENABLE();

  /*Configure GPIO pin Output Level */
  HAL_GPIO_WritePin(LCD_RESET_GPIO_Port, LCD_RESET_Pin, GPIO_PIN_SET);

  /*Configure GPIO pin Output Level */
  HAL_GPIO_WritePin(LCD_DC_GPIO_Port, LCD_DC_Pin, GPIO_PIN_RESET);

  /*Configure GPIO pin Output Level */
  HAL_GPIO_WritePin(LCD_CS_GPIO_Port, LCD_CS_Pin, GPIO_PIN_RESET);

  /*Configure GPIO pin : ZCD_Pin */
  GPIO_InitStruct.Pin = ZCD_Pin;
  GPIO_InitStruct.Mode = GPIO_MODE_IT_FALLING;
  GPIO_InitStruct.Pull = GPIO_NOPULL;
  HAL_GPIO_Init(ZCD_GPIO_Port, &GPIO_InitStruct);

  /*Configure GPIO pin : FAN_VOLTAGE_Pin */
  GPIO_InitStruct.Pin = FAN_VOLTAGE_Pin;
  GPIO_InitStruct.Mode = GPIO_MODE_ANALOG;
  GPIO_InitStruct.Pull = GPIO_NOPULL;
  HAL_GPIO_Init(FAN_VOLTAGE_GPIO_Port, &GPIO_InitStruct);

  /*Configure GPIO pin : EXTPORTINTA_Pin */
  GPIO_InitStruct.Pin = EXTPORTINTA_Pin;
  GPIO_InitStruct.Mode = GPIO_MODE_IT_FALLING;
  GPIO_InitStruct.Pull = GPIO_NOPULL;
  HAL_GPIO_Init(EXTPORTINTA_GPIO_Port, &GPIO_InitStruct);

  /*Configure GPIO pin : LCD_RESET_Pin */
  GPIO_InitStruct.Pin = LCD_RESET_Pin;
  GPIO_InitStruct.Mode = GPIO_MODE_OUTPUT_PP;
  GPIO_InitStruct.Pull = GPIO_NOPULL;
  GPIO_InitStruct.Speed = GPIO_SPEED_FREQ_LOW;
  HAL_GPIO_Init(LCD_RESET_GPIO_Port, &GPIO_InitStruct);

  /*Configure GPIO pin : LCD_DC_Pin */
  GPIO_InitStruct.Pin = LCD_DC_Pin;
  GPIO_InitStruct.Mode = GPIO_MODE_OUTPUT_PP;
  GPIO_InitStruct.Pull = GPIO_NOPULL;
  GPIO_InitStruct.Speed = GPIO_SPEED_FREQ_VERY_HIGH;
  HAL_GPIO_Init(LCD_DC_GPIO_Port, &GPIO_InitStruct);

  /*Configure GPIO pin : LCD_CS_Pin */
  GPIO_InitStruct.Pin = LCD_CS_Pin;
  GPIO_InitStruct.Mode = GPIO_MODE_OUTPUT_PP;
  GPIO_InitStruct.Pull = GPIO_NOPULL;
  GPIO_InitStruct.Speed = GPIO_SPEED_FREQ_VERY_HIGH;
  HAL_GPIO_Init(LCD_CS_GPIO_Port, &GPIO_InitStruct);

}

/* USER CODE BEGIN 4 */

void HAL_SPI_TxCpltCallback(SPI_HandleTypeDef *hspi)
{
    BaseType_t xHigherPriorityTaskWoken = pdFALSE;

    if(hspi->Instance == SPI1) {
        xHigherPriorityTaskWoken = ST7789VW_Give_ISR();
    }

    portYIELD_FROM_ISR(xHigherPriorityTaskWoken);
}

void HAL_GPIO_EXTI_Callback(uint16_t GPIO_Pin)
{
    //prvClearInterruptSource();
    BaseType_t xHigherPriorityTaskWoken = pdFALSE;

    if(GPIO_Pin == EXTPORTINTA_Pin)
    {
        vTaskNotifyGiveFromISR(myTaskInputsHandle, &xHigherPriorityTaskWoken);
    }
    else if(GPIO_Pin == ZCD_Pin)
    {
        //vTaskNotifyGiveFromISR( xHandlingTask, &xHigherPriorityTaskWoken );
    }

    portYIELD_FROM_ISR(xHigherPriorityTaskWoken);
}

/* USER CODE END 4 */

void StartDefaultTask(void *argument)
{
  /* init code for USB_DEVICE */
  MX_USB_DEVICE_Init();
  /* USER CODE BEGIN 5 */

    // Init flash
    FLASH_Init(&hqspi, &hdma_quadspi);

    /*Lcd st7789vw driver initialization*/
    ST7789VW_Init(&hspi1,
                  LCD_RESET_GPIO_Port, LCD_RESET_Pin,
                  LCD_CS_GPIO_Port, LCD_CS_Pin,
                  LCD_DC_GPIO_Port, LCD_DC_Pin,
                  LCD_PWM_GPIO_Port, LCD_PWM_Pin);

    // init MCP23017 extender ports
    MCP23017_Init(&hi2c2);

    /*Gui lvgl initialization*/
    lv_init();

    // lv_disp driver initialization
    lv_display_init();

    /* encoder and buttons initialization */
    lv_buttons_init(&htim8);

  /* Infinite loop */
  for(;;)
  {
    osDelay(1);
  }
  /* USER CODE END 5 */
}

void StartTaskLvgl(void *argument)
{
  for(;;)
  {
    osDelay(1);
  }
}

void StartTaskInputs(void *argument)
{
  for(;;)
  {
    osDelay(1);
  }
}

void StartTaskZcd(void *argument)
{
  for(;;)
  {
    osDelay(1);
  }
}

void StartTaskUart(void *argument)
{
  for(;;)
  {
    osDelay(1);
  }
}

void HAL_TIM_PeriodElapsedCallback(TIM_HandleTypeDef *htim)
{
  if (htim->Instance == TIM6) {
    HAL_IncTick();
  }
}

void Error_Handler(void)
{
  __disable_irq();
  while (1)
  {
  }
}

/************************ (C) COPYRIGHT STMicroelectronics *****END OF FILE****/

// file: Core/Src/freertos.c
/* USER CODE BEGIN Header */
/**
  ******************************************************************************
  * File Name          : freertos.c
  * Description        : Code for freertos applications
  ******************************************************************************
  * @attention
  *
  * <h2><center>&copy; Copyright (c) 2021 STMicroelectronics.
  * All rights reserved.</center></h2>
  *
  * This software component is licensed by ST under Ultimate Liberty license
  * SLA0044, the "License"; You may not use this file except in compliance with
  * the License. You may obtain a copy of the License at:
  *                             www.st.com/SLA0044
  *
  ******************************************************************************
  */
/* USER CODE END Header */

#include "FreeRTOS.h"
#include "task.h"
#include "main.h"

/* USER CODE BEGIN Includes */
#include "lvgl.h"

#include "lv_buttons.h"

/* USER CODE END Includes */

/* Hook prototypes */
void vApplicationTickHook(void);

/* USER CODE BEGIN 3 */
void vApplicationTickHook( void )
{
   /* This function will be called by each tick interrupt if
   configUSE_TICK_HOOK is set to 1 in FreeRTOSConfig.h. User code can be
   added here, but the tick hook is called from an interrupt context, so
   code must not attempt to block, and only the interrupt safe FreeRTOS API
   functions can be used (those that end in FromISR()). */

   lv_tick_inc(1 / portTICK_PERIOD_MS);
}
/* USER CODE END 3 */

/************************ (C) COPYRIGHT STMicroelectronics *****END OF FILE****/
